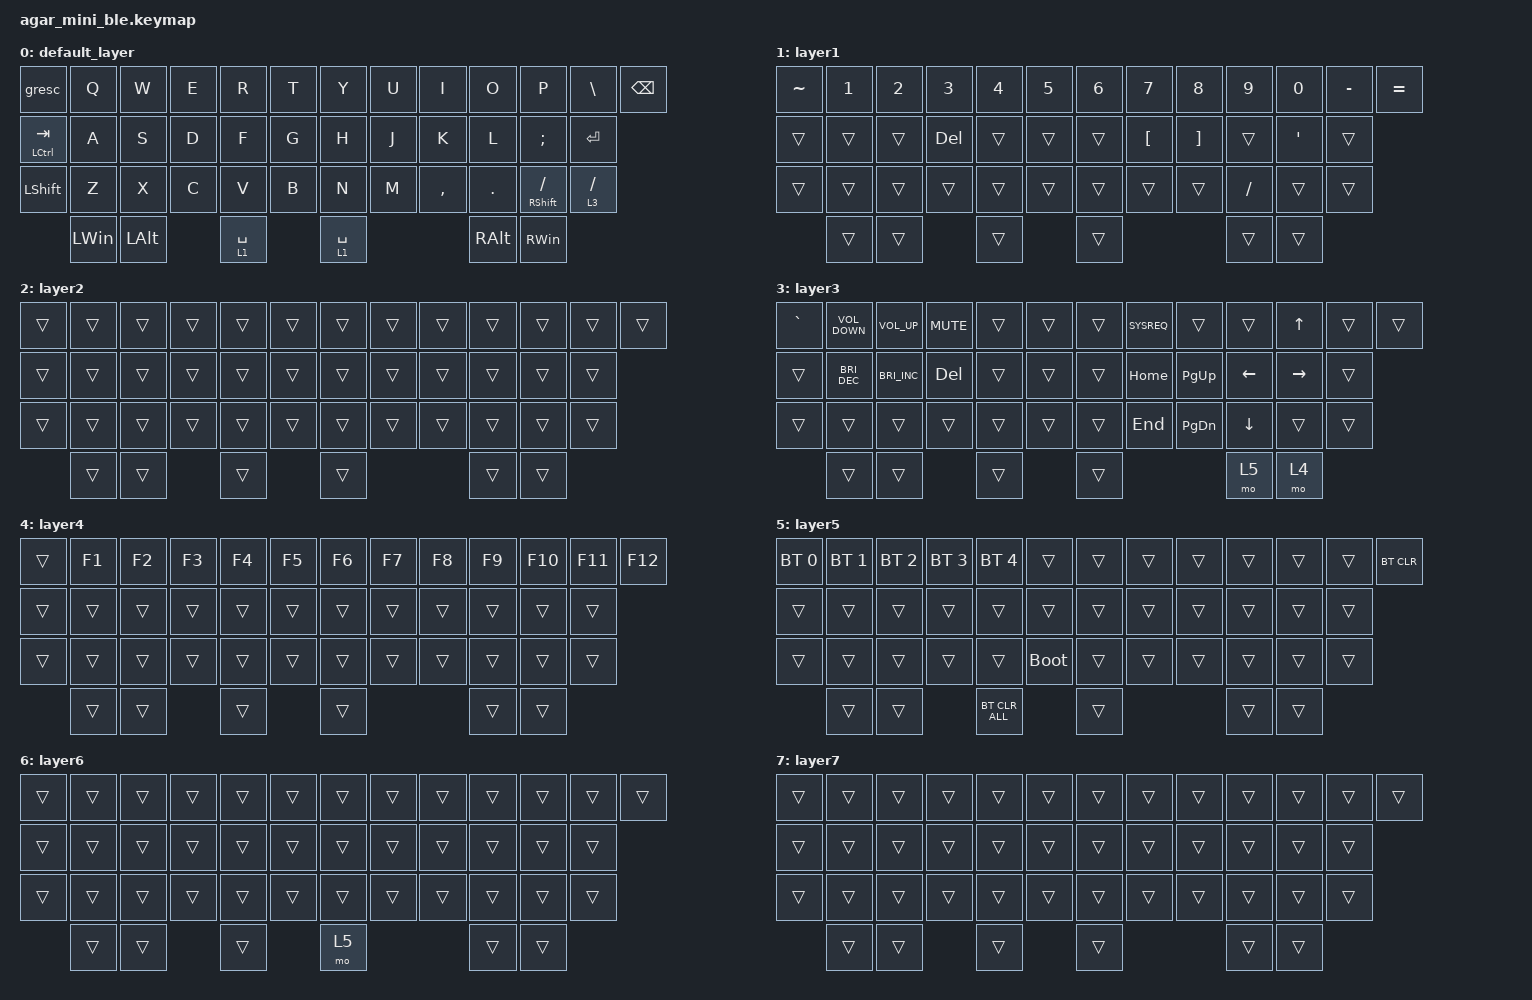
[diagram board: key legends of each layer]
/*
 * Copyright (c) 2021 The ZMK Contributors
 *
 * SPDX-License-Identifier: MIT
 */

#include "./boards/shields/klink_kbd/common.keymap"
#include <behaviors.dtsi>
#include <dt-bindings/zmk/bt.h>
#include <dt-bindings/zmk/keys.h>

&gresc { mods = <(MOD_LSFT|MOD_RSFT)>; };

/ {
    keymap {
        compatible = "zmk,keymap";

        default_layer {
            bindings = <
&gresc         &kp Q         &kp W     &kp E  &kp R        &kp T  &kp Y        &kp U  &kp I      &kp O     &kp P             &kp BACKSLASH  &kp BSPC
&mt LCTRL TAB  &kp A         &kp S     &kp D  &kp F        &kp G  &kp H        &kp J  &kp K      &kp L     &kp SEMI          &kp RET
&kp LSHFT      &kp Z         &kp X     &kp C  &kp V        &kp B  &kp N        &kp M  &kp COMMA  &kp DOT   &mt RSHIFT SLASH  &lt 3 SLASH
               &kp LEFT_WIN  &kp LALT         &lt 1 SPACE         &lt 1 SPACE                    &kp RALT  &kp RIGHT_WIN
            >;
        };

        layer1 {
            bindings = <
&kp TILDE  &kp N1  &kp N2  &kp N3      &kp N4  &kp N5  &kp N6  &kp N7            &kp N8             &kp N9     &kp N0            &kp MINUS  &kp EQUAL
&trans     &trans  &trans  &kp DELETE  &trans  &trans  &trans  &kp LEFT_BRACKET  &kp RIGHT_BRACKET  &trans     &kp SINGLE_QUOTE  &trans
&trans     &trans  &trans  &trans      &trans  &trans  &trans  &trans            &trans             &kp SLASH  &trans            &trans
           &trans  &trans              &trans          &trans                                       &trans     &trans
            >;
        };

        layer2 {
            bindings = <
&trans  &trans  &trans  &trans  &trans  &trans  &trans  &trans  &trans  &trans  &trans  &trans  &trans
&trans  &trans  &trans  &trans  &trans  &trans  &trans  &trans  &trans  &trans  &trans  &trans
&trans  &trans  &trans  &trans  &trans  &trans  &trans  &trans  &trans  &trans  &trans  &trans
        &trans  &trans          &trans          &trans                  &trans  &trans
            >;
        };

        layer3 {
            bindings = <
&kp GRAVE  &kp C_VOLUME_DOWN  &kp C_VOLUME_UP  &kp K_MUTE  &trans  &trans  &trans  &kp SYSREQ  &trans         &trans    &kp UP_ARROW  &trans  &trans
&trans     &kp C_BRI_DEC      &kp C_BRI_INC    &kp DELETE  &trans  &trans  &trans  &kp HOME    &kp PG_UP      &kp LEFT  &kp RIGHT     &trans
&trans     &trans             &trans           &trans      &trans  &trans  &trans  &kp END     &kp PAGE_DOWN  &kp DOWN  &trans        &trans
           &trans             &trans                       &trans          &trans                             &mo 5     &mo 4
            >;
        };

        layer4 {
            bindings = <
&trans  &kp F1  &kp F2  &kp F3  &kp F4  &kp F5  &kp F6  &kp F7  &kp F8  &kp F9  &kp F10  &kp F11  &kp F12
&trans  &trans  &trans  &trans  &trans  &trans  &trans  &trans  &trans  &trans  &trans   &trans
&trans  &trans  &trans  &trans  &trans  &trans  &trans  &trans  &trans  &trans  &trans   &trans
        &trans  &trans          &trans          &trans                  &trans  &trans
            >;
        };

        layer5 {
            bindings = <
&bt BT_SEL 0  &bt BT_SEL 1  &bt BT_SEL 2  &bt BT_SEL 3  &bt BT_SEL 4    &trans       &trans  &trans  &trans  &trans  &trans  &trans  &bt BT_CLR
&trans        &trans        &trans        &trans        &trans          &trans       &trans  &trans  &trans  &trans  &trans  &trans
&trans        &trans        &trans        &trans        &trans          &bootloader  &trans  &trans  &trans  &trans  &trans  &trans
              &trans        &trans                      &bt BT_CLR_ALL               &trans                  &trans  &trans
            >;
        };

        layer6 {
            bindings = <
&trans  &trans  &trans  &trans  &trans  &trans  &trans  &trans  &trans  &trans  &trans  &trans  &trans
&trans  &trans  &trans  &trans  &trans  &trans  &trans  &trans  &trans  &trans  &trans  &trans
&trans  &trans  &trans  &trans  &trans  &trans  &trans  &trans  &trans  &trans  &trans  &trans
        &trans  &trans          &trans          &mo 5                   &trans  &trans
            >;
        };

        layer7 {
            bindings = <
&trans  &trans  &trans  &trans  &trans  &trans  &trans  &trans  &trans  &trans  &trans  &trans  &trans
&trans  &trans  &trans  &trans  &trans  &trans  &trans  &trans  &trans  &trans  &trans  &trans
&trans  &trans  &trans  &trans  &trans  &trans  &trans  &trans  &trans  &trans  &trans  &trans
        &trans  &trans          &trans          &trans                  &trans  &trans
            >;
        };
    };
};
